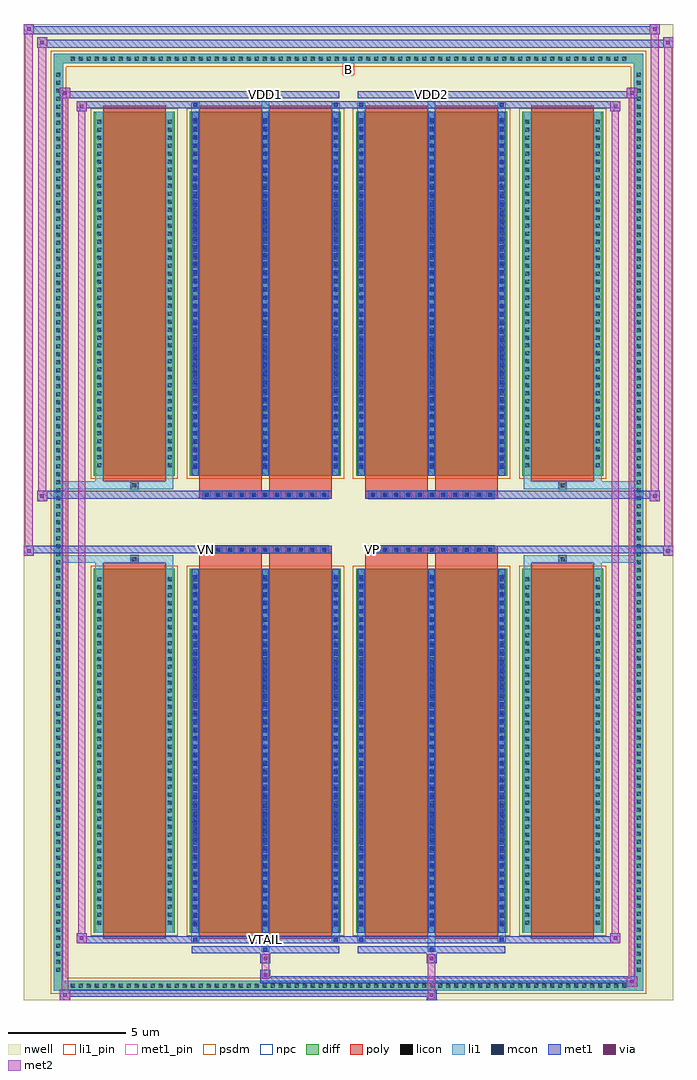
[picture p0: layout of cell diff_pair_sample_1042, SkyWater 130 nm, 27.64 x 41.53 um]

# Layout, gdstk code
import gdstk
lib = gdstk.Library(unit=1e-6, precision=5e-09)
def R(c, l, rs):  # rectangles x0, y0, x1, y1
    for r in rs: c.add(gdstk.rectangle(r[:2], r[2:], *l))
def A(c, l, x, y, w, h, nx, ny, dx, dy):  # array of equal rectangles
    R(c, l, [(x+i*dx, y+j*dy, x+i*dx+w, y+j*dy+h) for i in range(nx) for j in range(ny)])
def P(c, l, *ps):  # polygons
    for p in ps: c.add(gdstk.Polygon(p, *l))
nwell = (64, 20)
diff = (65, 20)
poly = (66, 20)
licon = (66, 44)
li1_pin = (67, 16)
li1 = (67, 20)
mcon = (67, 44)
met1_pin = (68, 16)
met1 = (68, 20)
via = (68, 44)
met2 = (69, 20)
psdm = (94, 20)
npc = (95, 20)

diff_pair_sample_1042 = lib.new_cell('diff_pair_sample_1042')
R(diff_pair_sample_1042, nwell, [(-13.82,-20.33,13.82,21.2), (-11.14,-18.52,-0.01,-0.8), (0.01,-18.52,11.14,-0.8), (-11.14,0.8,-0.01,18.52), (0.01,0.8,11.14,18.52)])
A(diff_pair_sample_1042, diff, -11.935, -19.93, 0.41, 0.41, 70, 2, 0.34, 39.45)
A(diff_pair_sample_1042, diff, -12.55, -19.245, 0.41, 0.41, 1, 113, 0, 0.34)
A(diff_pair_sample_1042, diff, 12.14, -19.245, 0.41, 0.41, 1, 113, 0, 0.34)
R(diff_pair_sample_1042, diff, [(-11.935,-19.93,11.935,-19.52), (-12.55,-19.245,-12.14,19.245), (12.14,-19.245,12.55,19.245), (-10.83,-17.475,-7.39,-1.985), (-6.75,-17.475,-0.32,-1.985), (0.32,-17.475,6.75,-1.985), (7.39,-17.475,10.83,-1.985), (-10.83,1.985,-7.39,17.475), (-6.75,1.985,-0.32,17.475), (0.32,1.985,6.75,17.475), (7.39,1.985,10.83,17.475), (-11.935,19.52,11.935,19.93)])
P(diff_pair_sample_1042, diff, [(12.55,19.93),(-12.55,19.93),(-12.55,-19.52),(-12.14,-19.52),(-12.14,19.52),(12.14,19.52),(12.14,-19.52),(-12.14,-19.52),(-12.55,-19.52),(-12.55,-19.93),(12.55,-19.93)])
A(diff_pair_sample_1042, poly, -6.2, -1.33, 0.33, 0.33, 11, 2, 0.5, 2.33)
A(diff_pair_sample_1042, poly, 0.87, -1.33, 0.33, 0.33, 11, 2, 0.5, 2.33)
R(diff_pair_sample_1042, poly, [(-10.44,-17.725,-7.78,-1.735), (-6.36,-17.725,-3.7,-1.735), (-3.37,-17.725,-0.71,-1.735), (0.71,-17.725,3.37,-1.735), (3.7,-17.725,6.36,-1.735), (7.78,-17.725,10.44,-1.735), (-9.275,-1.735,-8.945,-1.405), (-9.275,-1.735,-8.945,-1.405), (-6.36,-1.735,-3.7,-1.33), (-3.37,-1.735,-0.71,-1.33), (0.71,-1.735,3.37,-1.33), (3.7,-1.735,6.36,-1.33), (8.945,-1.735,9.275,-1.405), (8.945,-1.735,9.275,-1.405), (-6.36,-1.33,-0.71,-1), (0.71,-1.33,6.36,-1), (-6.36,1,-0.71,1.33), (0.71,1,6.36,1.33), (-6.36,1.33,-3.7,1.735), (-3.37,1.33,-0.71,1.735), (0.71,1.33,3.37,1.735), (3.7,1.33,6.36,1.735), (-9.275,1.405,-8.945,1.735), (-9.275,1.405,-8.945,1.735), (8.945,1.405,9.275,1.735), (8.945,1.405,9.275,1.735), (-10.44,1.735,-7.78,17.725), (-6.36,1.735,-3.7,17.725), (-3.37,1.735,-0.71,17.725), (0.71,1.735,3.37,17.725), (3.7,1.735,6.36,17.725), (7.78,1.735,10.44,17.725)])
A(diff_pair_sample_1042, licon, -11.815, -19.81, 0.17, 0.17, 70, 2, 0.34, 39.45)
A(diff_pair_sample_1042, licon, -12.43, -19.125, 0.17, 0.17, 1, 113, 0, 0.34)
A(diff_pair_sample_1042, licon, 12.26, -19.125, 0.17, 0.17, 1, 113, 0, 0.34)
A(diff_pair_sample_1042, licon, -10.69, -17.125, 0.17, 0.17, 1, 44, 0, 0.34)
A(diff_pair_sample_1042, licon, -7.7, -17.125, 0.17, 0.17, 1, 44, 0, 0.34)
A(diff_pair_sample_1042, licon, -6.61, -17.125, 0.17, 0.17, 3, 44, 2.99, 0.34)
A(diff_pair_sample_1042, licon, 0.46, -17.125, 0.17, 0.17, 3, 44, 2.99, 0.34)
A(diff_pair_sample_1042, licon, 7.53, -17.125, 0.17, 0.17, 1, 44, 0, 0.34)
A(diff_pair_sample_1042, licon, 10.52, -17.125, 0.17, 0.17, 1, 44, 0, 0.34)
A(diff_pair_sample_1042, licon, -6.12, -1.25, 0.17, 0.17, 11, 2, 0.5, 2.33)
A(diff_pair_sample_1042, licon, 0.95, -1.25, 0.17, 0.17, 11, 2, 0.5, 2.33)
A(diff_pair_sample_1042, licon, -10.69, 2.335, 0.17, 0.17, 1, 44, 0, 0.34)
A(diff_pair_sample_1042, licon, -7.7, 2.335, 0.17, 0.17, 1, 44, 0, 0.34)
A(diff_pair_sample_1042, licon, -6.61, 2.335, 0.17, 0.17, 3, 44, 2.99, 0.34)
A(diff_pair_sample_1042, licon, 0.46, 2.335, 0.17, 0.17, 3, 44, 2.99, 0.34)
A(diff_pair_sample_1042, licon, 7.53, 2.335, 0.17, 0.17, 1, 44, 0, 0.34)
A(diff_pair_sample_1042, licon, 10.52, 2.335, 0.17, 0.17, 1, 44, 0, 0.34)
R(diff_pair_sample_1042, licon, [(-9.195,-1.655,-9.025,-1.485), (9.025,-1.655,9.195,-1.485), (-9.195,1.485,-9.025,1.655), (9.025,1.485,9.195,1.655)])
R(diff_pair_sample_1042, li1_pin, [(-0.25,19.02,0.25,19.52)])
A(diff_pair_sample_1042, li1, -11.895, -19.89, 0.33, 0.33, 70, 2, 0.34, 39.45)
A(diff_pair_sample_1042, li1, -12.51, -19.205, 0.33, 0.33, 1, 113, 0, 0.34)
A(diff_pair_sample_1042, li1, 12.18, -19.205, 0.33, 0.33, 1, 113, 0, 0.34)
A(diff_pair_sample_1042, li1, -6.69, -17.475, 0.33, 15.49, 3, 2, 2.99, 19.46)
A(diff_pair_sample_1042, li1, 0.38, -17.475, 0.33, 15.49, 3, 2, 2.99, 19.46)
A(diff_pair_sample_1042, li1, -10.77, -17.205, 0.33, 0.33, 1, 44, 0, 0.34)
A(diff_pair_sample_1042, li1, -7.78, -17.205, 0.33, 0.33, 1, 44, 0, 0.34)
A(diff_pair_sample_1042, li1, -6.69, -17.205, 0.33, 0.33, 3, 44, 2.99, 0.34)
A(diff_pair_sample_1042, li1, 0.38, -17.205, 0.33, 0.33, 3, 44, 2.99, 0.34)
A(diff_pair_sample_1042, li1, 7.45, -17.205, 0.33, 0.33, 1, 44, 0, 0.34)
A(diff_pair_sample_1042, li1, 10.44, -17.205, 0.33, 0.33, 1, 44, 0, 0.34)
A(diff_pair_sample_1042, li1, -6.61, -17.195, 0.17, 0.17, 3, 42, 2.99, 0.36)
A(diff_pair_sample_1042, li1, -6.61, -17.195, 0.17, 14.93, 3, 2, 2.99, 19.46)
A(diff_pair_sample_1042, li1, 0.46, -17.195, 0.17, 0.17, 3, 42, 2.99, 0.36)
A(diff_pair_sample_1042, li1, 0.46, -17.195, 0.17, 14.93, 3, 2, 2.99, 19.46)
A(diff_pair_sample_1042, li1, -6.2, -1.33, 0.33, 0.33, 11, 2, 0.5, 2.33)
A(diff_pair_sample_1042, li1, 0.87, -1.33, 0.33, 0.33, 11, 2, 0.5, 2.33)
A(diff_pair_sample_1042, li1, -10.77, 2.255, 0.33, 0.33, 1, 44, 0, 0.34)
A(diff_pair_sample_1042, li1, -7.78, 2.255, 0.33, 0.33, 1, 44, 0, 0.34)
A(diff_pair_sample_1042, li1, -6.69, 2.255, 0.33, 0.33, 3, 44, 2.99, 0.34)
A(diff_pair_sample_1042, li1, 0.38, 2.255, 0.33, 0.33, 3, 44, 2.99, 0.34)
A(diff_pair_sample_1042, li1, 7.45, 2.255, 0.33, 0.33, 1, 44, 0, 0.34)
A(diff_pair_sample_1042, li1, 10.44, 2.255, 0.33, 0.33, 1, 44, 0, 0.34)
A(diff_pair_sample_1042, li1, -6.61, 2.265, 0.17, 0.17, 3, 42, 2.99, 0.36)
A(diff_pair_sample_1042, li1, 0.46, 2.265, 0.17, 0.17, 3, 42, 2.99, 0.36)
R(diff_pair_sample_1042, li1, [(-12.55,-19.93,-12.14,-19.52), (-12.55,-19.93,-12.14,-19.52), (-12.14,-19.93,12.14,-19.52), (12.14,-19.93,12.55,-19.52), (12.14,-19.93,12.55,-19.52), (-12.55,-19.52,-12.14,19.52), (12.14,-19.52,12.55,19.52), (-3.7,-18.28,-3.37,-17.475), (-3.62,-18.28,-3.45,-18.11), (3.37,-18.28,3.7,-17.475), (3.45,-18.28,3.62,-18.11), (-6.69,-17.85,-6.36,-17.475), (-6.61,-17.85,-6.44,-17.68), (-0.71,-17.85,-0.38,-17.475), (-0.63,-17.85,-0.46,-17.68), (0.38,-17.85,0.71,-17.475), (0.46,-17.85,0.63,-17.68), (6.36,-17.85,6.69,-17.475), (6.44,-17.85,6.61,-17.68), (-10.77,-17.475,-10.44,-1.985), (-7.78,-17.475,-7.45,-1.985), (7.45,-17.475,7.78,-1.985), (10.44,-17.475,10.77,-1.985), (-10.77,-1.985,-10.44,-1.405), (-7.78,-1.985,-7.45,-1.405), (7.45,-1.985,7.78,-1.405), (10.44,-1.985,10.77,-1.405), (-12.55,-1.735,-9.275,-1.405), (-10.77,-1.735,-9.275,-1.405), (-9.275,-1.735,-8.945,-1.405), (-8.945,-1.735,-7.45,-1.405), (7.45,-1.735,8.945,-1.405), (8.945,-1.735,9.275,-1.405), (8.945,-1.735,12.55,-1.405), (9.275,-1.735,10.77,-1.405), (-12.55,1.405,-9.275,1.735), (-10.77,1.405,-9.275,1.735), (-10.77,1.405,-10.44,1.985), (-9.275,1.405,-8.945,1.735), (-8.945,1.405,-7.45,1.735), (-7.78,1.405,-7.45,1.985), (7.45,1.405,8.945,1.735), (7.45,1.405,7.78,1.985), (8.945,1.405,9.275,1.735), (8.945,1.405,12.55,1.735), (9.275,1.405,10.77,1.735), (10.44,1.405,10.77,1.985), (-10.77,1.985,-10.44,17.475), (-7.78,1.985,-7.45,17.475), (7.45,1.985,7.78,17.475), (10.44,1.985,10.77,17.475), (-6.69,17.475,-6.36,17.85), (-3.7,17.475,-3.37,18.28), (-0.71,17.475,-0.38,17.85), (0.38,17.475,0.71,17.85), (3.37,17.475,3.7,18.28), (6.36,17.475,6.69,17.85), (-6.61,17.68,-6.44,17.85), (-0.63,17.68,-0.46,17.85), (0.46,17.68,0.63,17.85), (6.44,17.68,6.61,17.85), (-3.62,18.11,-3.45,18.28), (3.45,18.11,3.62,18.28), (-12.55,19.52,-12.14,19.93), (-12.55,19.52,-12.14,19.93), (-12.14,19.52,12.14,19.93), (12.14,19.52,12.55,19.93), (12.14,19.52,12.55,19.93)])
A(diff_pair_sample_1042, mcon, -6.61, -17.195, 0.17, 0.17, 3, 42, 2.99, 0.36)
A(diff_pair_sample_1042, mcon, 0.46, -17.195, 0.17, 0.17, 3, 42, 2.99, 0.36)
A(diff_pair_sample_1042, mcon, -6.12, -1.25, 0.17, 0.17, 11, 2, 0.5, 2.33)
A(diff_pair_sample_1042, mcon, 0.95, -1.25, 0.17, 0.17, 11, 2, 0.5, 2.33)
A(diff_pair_sample_1042, mcon, -6.61, 2.265, 0.17, 0.17, 3, 42, 2.99, 0.36)
A(diff_pair_sample_1042, mcon, 0.46, 2.265, 0.17, 0.17, 3, 42, 2.99, 0.36)
R(diff_pair_sample_1042, mcon, [(-3.62,-18.28,-3.45,-18.11), (3.45,-18.28,3.62,-18.11), (-6.61,-17.85,-6.44,-17.68), (-0.63,-17.85,-0.46,-17.68), (0.46,-17.85,0.63,-17.68), (6.44,-17.85,6.61,-17.68), (-6.61,17.68,-6.44,17.85), (-0.63,17.68,-0.46,17.85), (0.46,17.68,0.63,17.85), (6.44,17.68,6.61,17.85), (-3.62,18.11,-3.45,18.28), (3.45,18.11,3.62,18.28)])
R(diff_pair_sample_1042, met1_pin, [(-3.67,-17.89,-3.4,-17.62), (-6.17,-1.29,-5.9,-1.02), (0.9,-1.29,1.17,-1.02), (-3.67,18.07,-3.4,18.34), (3.4,18.07,3.67,18.34)])
A(diff_pair_sample_1042, met1, -6.67, -17.475, 0.29, 15.49, 3, 2, 2.99, 19.46)
A(diff_pair_sample_1042, met1, 0.4, -17.475, 0.29, 15.49, 3, 2, 2.99, 19.46)
A(diff_pair_sample_1042, met1, -6.67, -17.255, 0.29, 0.29, 3, 42, 2.99, 0.36)
A(diff_pair_sample_1042, met1, 0.4, -17.255, 0.29, 0.29, 3, 42, 2.99, 0.36)
A(diff_pair_sample_1042, met1, -6.18, -1.31, 0.29, 0.29, 11, 2, 0.5, 2.33)
A(diff_pair_sample_1042, met1, 0.89, -1.31, 0.29, 0.29, 11, 2, 0.5, 2.33)
A(diff_pair_sample_1042, met1, -6.67, 2.205, 0.29, 0.29, 3, 42, 2.99, 0.36)
A(diff_pair_sample_1042, met1, 0.4, 2.205, 0.29, 0.29, 3, 42, 2.99, 0.36)
R(diff_pair_sample_1042, met1, [(-12.28,-20.33,-11.85,-19.9), (3.32,-20.33,3.75,-19.9), (-12.28,-20.19,3.75,-19.9), (11.85,-19.76,12.28,-19.33), (-3.75,-19.62,12.28,-19.33), (-3.75,-19.48,-3.32,-19.05), (-3.75,-18.77,-3.32,-18.34), (3.32,-18.77,3.75,-18.34), (-6.67,-18.34,-0.4,-18.05), (-3.68,-18.34,-3.39,-18.05), (0.4,-18.34,6.67,-18.05), (3.39,-18.34,3.68,-18.05), (-11.57,-17.91,-11.14,-17.48), (-11.57,-17.91,-6.67,-17.62), (-6.67,-17.91,-6.38,-17.62), (-6.67,-17.91,-0.4,-17.62), (-0.69,-17.91,-0.4,-17.62), (-0.4,-17.91,0.4,-17.62), (0.4,-17.91,0.69,-17.62), (0.4,-17.91,6.67,-17.62), (6.38,-17.91,6.67,-17.62), (6.67,-17.91,11.57,-17.62), (11.14,-17.91,11.57,-17.48), (-13.82,-1.43,-13.39,-1), (13.39,-1.43,13.82,-1), (-13.82,-1.33,-0.71,-1), (-6.36,-1.33,-0.71,-1), (0.71,-1.33,6.36,-1), (0.71,-1.33,13.82,-1), (-13.25,0.9,-12.82,1.33), (12.82,0.9,13.25,1.33), (-13.25,1,-6.36,1.33), (-6.36,1,-0.71,1.33), (0.71,1,6.36,1.33), (6.36,1,13.25,1.33), (-11.57,17.48,-11.14,17.91), (11.14,17.48,11.57,17.91), (-11.57,17.62,-6.67,17.91), (-6.67,17.62,-6.38,17.91), (-6.67,17.62,-0.4,17.91), (-0.69,17.62,-0.4,17.91), (-0.4,17.62,0.4,17.91), (0.4,17.62,0.69,17.91), (0.4,17.62,6.67,17.91), (6.38,17.62,6.67,17.91), (6.67,17.62,11.57,17.91), (-12.28,18.05,-11.85,18.48), (-12.28,18.05,-6.67,18.34), (-6.67,18.05,-0.4,18.34), (-3.68,18.05,-3.39,18.34), (0.4,18.05,6.67,18.34), (3.39,18.05,3.68,18.34), (6.67,18.05,12.28,18.34), (11.85,18.05,12.28,18.48), (-13.25,20.2,-12.82,20.63), (-13.25,20.2,-11.14,20.53), (-11.14,20.2,11.14,20.53), (11.14,20.2,13.82,20.53), (13.39,20.2,13.82,20.63), (-13.82,20.77,-13.39,21.2), (-13.82,20.77,-11.14,21.1), (-11.14,20.77,11.14,21.1), (11.14,20.77,13.25,21.1), (12.82,20.77,13.25,21.2)])
R(diff_pair_sample_1042, via, [(-12.14,-20.19,-11.99,-20.04), (3.46,-20.19,3.61,-20.04), (11.99,-19.62,12.14,-19.47), (-3.61,-19.34,-3.46,-19.19), (-3.61,-18.63,-3.46,-18.48), (3.46,-18.63,3.61,-18.48), (-11.43,-17.77,-11.28,-17.62), (11.28,-17.77,11.43,-17.62), (-13.68,-1.29,-13.53,-1.14), (13.53,-1.29,13.68,-1.14), (-13.11,1.04,-12.96,1.19), (12.96,1.04,13.11,1.19), (-11.43,17.62,-11.28,17.77), (11.28,17.62,11.43,17.77), (-12.14,18.19,-11.99,18.34), (11.99,18.19,12.14,18.34), (-13.11,20.34,-12.96,20.49), (13.53,20.34,13.68,20.49), (-13.68,20.91,-13.53,21.06), (12.96,20.91,13.11,21.06)])
R(diff_pair_sample_1042, met2, [(-12.28,-20.33,-11.85,-19.9), (-12.21,-20.33,-11.92,18.48), (-11.92,-20.33,-11.85,-19.9), (-12.23,-20.28,-11.9,-19.95), (3.37,-20.28,3.7,-19.95), (3.37,-19.95,3.7,-18.72), (11.85,-19.76,12.28,-19.33), (11.92,-19.76,12.21,18.48), (12.21,-19.76,12.28,-19.33), (11.9,-19.71,12.23,-19.38), (-3.7,-19.43,-3.37,-19.1), (-3.7,-19.1,-3.37,-18.72), (-3.7,-18.72,-3.37,-18.39), (3.37,-18.72,3.7,-18.39), (-11.57,-17.91,-11.14,-17.48), (-11.5,-17.91,-11.21,17.91), (-11.21,-17.91,-11.14,-17.48), (11.14,-17.91,11.57,-17.48), (11.21,-17.91,11.5,17.91), (11.5,-17.91,11.57,-17.48), (-11.52,-17.86,-11.19,-17.53), (11.19,-17.86,11.52,-17.53), (-13.82,-1.43,-13.39,-1), (-13.77,-1.43,-13.44,21.2), (-13.44,-1.43,-13.39,-1), (13.39,-1.43,13.82,-1), (13.44,-1.43,13.77,20.63), (13.77,-1.43,13.82,-1), (-13.77,-1.38,-13.44,-1.05), (13.44,-1.38,13.77,-1.05), (-13.25,0.9,-12.82,1.33), (-13.2,0.9,-12.87,20.63), (-12.87,0.9,-12.82,1.33), (12.82,0.9,13.25,1.33), (12.87,0.9,13.2,21.2), (13.2,0.9,13.25,1.33), (-13.2,0.95,-12.87,1.28), (12.87,0.95,13.2,1.28), (-11.57,17.48,-11.14,17.91), (-11.21,17.48,-11.14,17.91), (11.14,17.48,11.57,17.91), (11.5,17.48,11.57,17.91), (-11.52,17.53,-11.19,17.86), (11.19,17.53,11.52,17.86), (-12.28,18.05,-11.85,18.48), (-11.92,18.05,-11.85,18.48), (11.85,18.05,12.28,18.48), (12.21,18.05,12.28,18.48), (-12.23,18.1,-11.9,18.43), (11.9,18.1,12.23,18.43), (-13.25,20.2,-12.82,20.63), (-12.87,20.2,-12.82,20.63), (13.39,20.2,13.82,20.63), (13.77,20.2,13.82,20.63), (-13.2,20.25,-12.87,20.58), (13.44,20.25,13.77,20.58), (-13.82,20.77,-13.39,21.2), (-13.44,20.77,-13.39,21.2), (12.82,20.77,13.25,21.2), (13.2,20.77,13.25,21.2), (-13.77,20.82,-13.44,21.15), (12.87,20.82,13.2,21.15)])
R(diff_pair_sample_1042, psdm, [(-10.96,-17.605,-7.26,-1.855), (-6.88,-17.605,-0.19,-1.855), (0.19,-17.605,6.88,-1.855), (7.26,-17.605,10.96,-1.855), (-10.96,1.855,-7.26,17.605), (-6.88,1.855,-0.19,17.605), (0.19,1.855,6.88,17.605), (7.26,1.855,10.96,17.605)])
P(diff_pair_sample_1042, psdm, [(12.68,20.06),(-12.68,20.06),(-12.68,-19.39),(-12.01,-19.39),(-12.01,19.39),(12.01,19.39),(12.01,-19.39),(-12.01,-19.39),(-12.68,-19.39),(-12.68,-20.06),(12.68,-20.06)])
A(diff_pair_sample_1042, npc, -6.22, -1.35, 0.37, 0.37, 11, 2, 0.5, 2.33)
A(diff_pair_sample_1042, npc, 0.85, -1.35, 0.37, 0.37, 11, 2, 0.5, 2.33)
R(diff_pair_sample_1042, npc, [(-9.295,-1.755,-8.925,-1.385), (8.925,-1.755,9.295,-1.385), (-6.22,-1.35,-5.35,-0.98), (-6.22,-1.35,-5.35,-0.98), (-5.72,-1.35,-4.85,-0.98), (-5.72,-1.35,-4.85,-0.98), (-5.22,-1.35,-4.35,-0.98), (-5.22,-1.35,-4.35,-0.98), (-4.72,-1.35,-3.85,-0.98), (-4.72,-1.35,-3.85,-0.98), (-4.22,-1.35,-3.35,-0.98), (-4.22,-1.35,-3.35,-0.98), (-3.72,-1.35,-2.85,-0.98), (-3.72,-1.35,-2.85,-0.98), (-3.22,-1.35,-2.35,-0.98), (-3.22,-1.35,-2.35,-0.98), (-2.72,-1.35,-1.85,-0.98), (-2.72,-1.35,-1.85,-0.98), (-2.22,-1.35,-1.35,-0.98), (-2.22,-1.35,-1.35,-0.98), (-1.72,-1.35,-0.85,-0.98), (-1.72,-1.35,-0.85,-0.98), (0.85,-1.35,1.72,-0.98), (0.85,-1.35,1.72,-0.98), (1.35,-1.35,2.22,-0.98), (1.35,-1.35,2.22,-0.98), (1.85,-1.35,2.72,-0.98), (1.85,-1.35,2.72,-0.98), (2.35,-1.35,3.22,-0.98), (2.35,-1.35,3.22,-0.98), (2.85,-1.35,3.72,-0.98), (2.85,-1.35,3.72,-0.98), (3.35,-1.35,4.22,-0.98), (3.35,-1.35,4.22,-0.98), (3.85,-1.35,4.72,-0.98), (3.85,-1.35,4.72,-0.98), (4.35,-1.35,5.22,-0.98), (4.35,-1.35,5.22,-0.98), (4.85,-1.35,5.72,-0.98), (4.85,-1.35,5.72,-0.98), (5.35,-1.35,6.22,-0.98), (5.35,-1.35,6.22,-0.98), (-6.22,0.98,-5.35,1.35), (-6.22,0.98,-5.35,1.35), (-5.72,0.98,-4.85,1.35), (-5.72,0.98,-4.85,1.35), (-5.22,0.98,-4.35,1.35), (-5.22,0.98,-4.35,1.35), (-4.72,0.98,-3.85,1.35), (-4.72,0.98,-3.85,1.35), (-4.22,0.98,-3.35,1.35), (-4.22,0.98,-3.35,1.35), (-3.72,0.98,-2.85,1.35), (-3.72,0.98,-2.85,1.35), (-3.22,0.98,-2.35,1.35), (-3.22,0.98,-2.35,1.35), (-2.72,0.98,-1.85,1.35), (-2.72,0.98,-1.85,1.35), (-2.22,0.98,-1.35,1.35), (-2.22,0.98,-1.35,1.35), (-1.72,0.98,-0.85,1.35), (-1.72,0.98,-0.85,1.35), (0.85,0.98,1.72,1.35), (0.85,0.98,1.72,1.35), (1.35,0.98,2.22,1.35), (1.35,0.98,2.22,1.35), (1.85,0.98,2.72,1.35), (1.85,0.98,2.72,1.35), (2.35,0.98,3.22,1.35), (2.35,0.98,3.22,1.35), (2.85,0.98,3.72,1.35), (2.85,0.98,3.72,1.35), (3.35,0.98,4.22,1.35), (3.35,0.98,4.22,1.35), (3.85,0.98,4.72,1.35), (3.85,0.98,4.72,1.35), (4.35,0.98,5.22,1.35), (4.35,0.98,5.22,1.35), (4.85,0.98,5.72,1.35), (4.85,0.98,5.72,1.35), (5.35,0.98,6.22,1.35), (5.35,0.98,6.22,1.35), (-9.295,1.385,-8.925,1.755), (8.925,1.385,9.295,1.755)])
diff_pair_sample_1042.add(gdstk.Label('VTAIL', (-3.535,-17.755), layer=68, texttype=5))
diff_pair_sample_1042.add(gdstk.Label('VN', (-6.035,-1.155), layer=68, texttype=5))
diff_pair_sample_1042.add(gdstk.Label('VP', (1.035,-1.155), layer=68, texttype=5))
diff_pair_sample_1042.add(gdstk.Label('B', (0,19.27), layer=67, texttype=5))
diff_pair_sample_1042.add(gdstk.Label('VDD2', (3.535,18.205), layer=68, texttype=5))
diff_pair_sample_1042.add(gdstk.Label('VDD1', (-3.535,18.205), layer=68, texttype=5))

lib.write_gds('diff_pair_sample_1042.gds')
